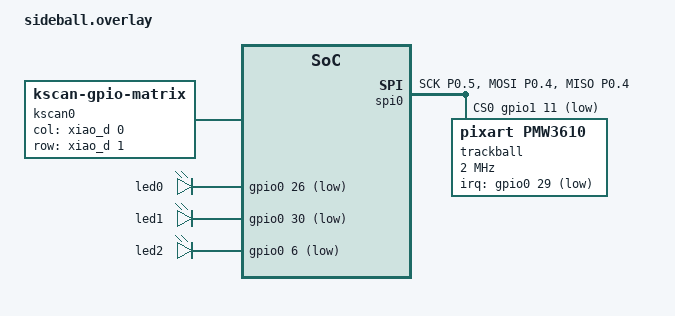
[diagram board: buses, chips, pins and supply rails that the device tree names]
#include <dt-bindings/zmk/matrix_transform.h>


&pinctrl {
        spi0_default: spi0_default {
            group1 {
                psels = <NRF_PSEL(SPIM_SCK, 0, 5)>, // 5
                    <NRF_PSEL(SPIM_MOSI, 0, 4)>,    // 4
                    <NRF_PSEL(SPIM_MISO, 0, 4)>;    // 4
            };
        };

        spi0_sleep: spi0_sleep {
            group1 {
                psels = <NRF_PSEL(SPIM_SCK, 0, 5)>, // 5
                    <NRF_PSEL(SPIM_MOSI, 0, 4)>,    // 4
                    <NRF_PSEL(SPIM_MISO, 0, 4)>;    // 4
                low-power-enable;
            };
        };
    };

&spi0 {
    status = "okay";
    compatible = "nordic,nrf-spim";
    pinctrl-0 = <&spi0_default>;
    pinctrl-1 = <&spi0_sleep>;
    pinctrl-names = "default", "sleep";
    cs-gpios = <&gpio1 11 GPIO_ACTIVE_LOW>; // 11 // TB1 nCS 1.11

    trackball: trackball@0 {
        status = "okay";
        compatible = "pixart,pmw3610";
        reg = <0>;
        spi-max-frequency = <2000000>;
        irq-gpios = <&gpio0 29 (GPIO_ACTIVE_LOW | GPIO_PULL_UP)>; // 29 // TB2 Mot 0.29
    };
};

/ {
    chosen {
        zmk,kscan = &kscan0;
        zmk,matrix-transform = &default_transform;
    };

    kscan0: kscan_0 {
        compatible = "zmk,kscan-gpio-matrix";
        diode-direction = "col2row";
        wakeup-source;

        col-gpios = <&xiao_d 0 GPIO_ACTIVE_HIGH>;

        row-gpios = <&xiao_d 1 (GPIO_ACTIVE_HIGH | GPIO_PULL_DOWN)>;
    };

    default_transform: keymap_transform_0 {
        compatible = "zmk,matrix-transform";
        columns = <2>;
        rows = <2>;

        map = <RC(0,0)>;
    };

    aliases {
        led-red = &led0;
        led-green = &led1;
        led-blue = &led2;
    };

    leds {
        compatible = "gpio-leds";
        status = "okay";
        led0: led_0 {
            gpios = <&gpio0 26 GPIO_ACTIVE_LOW>;  // red LED, connected to P0.26
        };
        led1: led_1 {
            gpios = <&gpio0 30 GPIO_ACTIVE_LOW>;  // green LED, connected to P0.30
        };
        led2: led_2 {
            gpios = <&gpio0 6 GPIO_ACTIVE_LOW>;  // blue LED, connected to P0.06
        };
    };
};

/ {
    trackball_listener {
        compatible = "zmk,input-listener";
        device = <&trackball>;
    };
};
